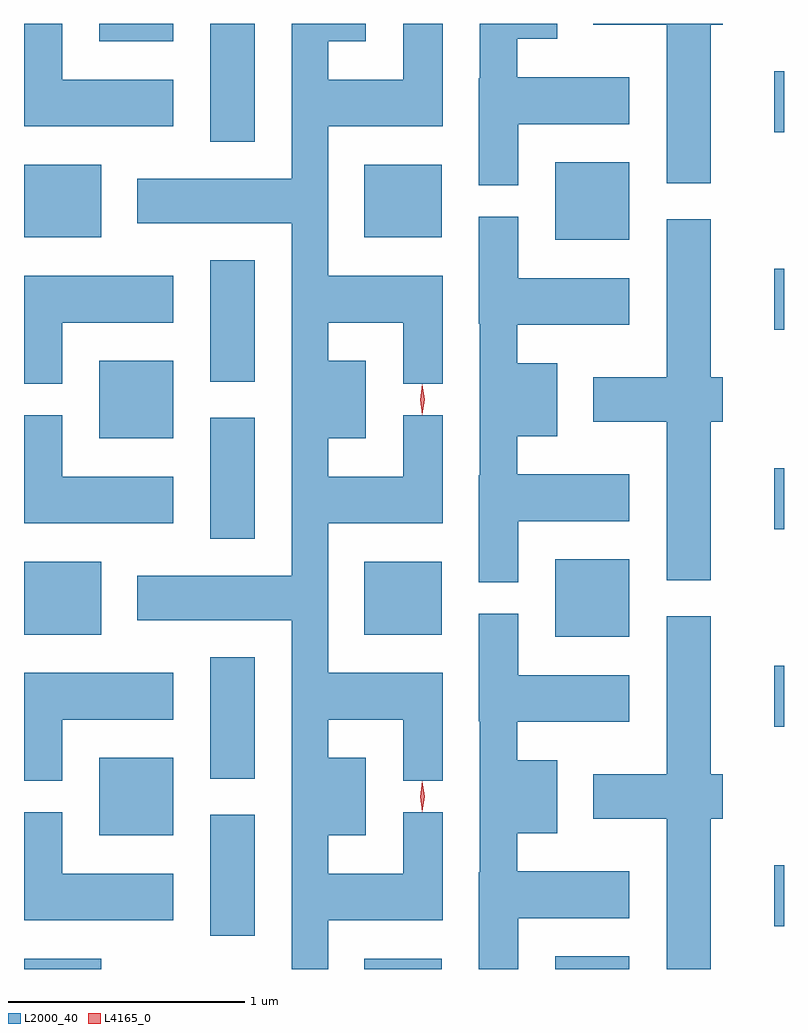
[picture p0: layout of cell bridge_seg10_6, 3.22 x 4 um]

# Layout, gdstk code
import gdstk
lib = gdstk.Library(unit=1e-6, precision=1e-09)
def R(c, l, rs):  # rectangles x0, y0, x1, y1
    for r in rs: c.add(gdstk.rectangle(r[:2], r[2:], *l))
def P(c, l, *ps):  # polygons
    for p in ps: c.add(gdstk.Polygon(p, *l))
L2000_40 = (2000, 40)
L4165_0 = (4165, 0)

bridge_seg10_6 = lib.new_cell('bridge_seg10_6')
R(bridge_seg10_6, L2000_40, [(1911.107,2166.76,1911.434,2166.804), (1912.546,2166.76,1912.874,2166.804), (1913.356,2166.76,1913.669,2166.814), (1911.896,2166.901,1912.084,2167.414), (1914.281,2166.941,1914.323,2167.199), (1911.426,2167.326,1911.739,2167.654), (1911.896,2167.566,1912.084,2168.079), (1914.281,2167.786,1914.323,2168.044), (1913.356,2168.166,1913.669,2168.494), (1911.107,2168.176,1911.434,2168.484), (1912.546,2168.176,1912.874,2168.484), (1911.896,2168.581,1912.084,2169.094), (1914.281,2168.621,1914.323,2168.879), (1911.426,2169.006,1911.739,2169.334), (1911.896,2169.246,1912.084,2169.759), (1914.281,2169.466,1914.323,2169.724), (1913.356,2169.846,1913.669,2170.174), (1911.107,2169.856,1911.434,2170.164), (1912.546,2169.856,1912.874,2170.164), (1911.896,2170.261,1912.084,2170.76), (1914.281,2170.301,1914.323,2170.559), (1911.426,2170.686,1911.739,2170.76)])
P(bridge_seg10_6, L2000_40, [(1911.739,2170.524),(1911.269,2170.524),(1911.269,2170.76),(1911.107,2170.76),(1911.107,2170.326),(1911.739,2170.326)],
  [(1914.014,2170.756),(1914.064,2170.756),(1914.064,2170.76),(1913.516,2170.76),(1913.516,2170.756),(1913.826,2170.756),(1913.826,2170.086),(1914.014,2170.086)],
  [(1913.199,2170.336),(1913.669,2170.336),(1913.669,2170.534),(1913.194,2170.534),(1913.194,2170.696),(1913.364,2170.696),(1913.364,2170.76),(1913.036,2170.76),(1913.036,2170.53),(1913.031,2170.53),(1913.031,2170.078),(1913.199,2170.078)],
  [(1912.394,2166.76),(1912.394,2166.966),(1912.879,2166.966),(1912.879,2167.423),(1912.711,2167.423),(1912.711,2167.164),(1912.394,2167.164),(1912.394,2167.326),(1912.554,2167.326),(1912.554,2167.654),(1912.394,2167.654),(1912.394,2167.816),(1912.711,2167.816),(1912.711,2167.558),(1912.879,2167.558),(1912.879,2168.014),(1912.394,2168.014),(1912.394,2168.646),(1912.879,2168.646),(1912.879,2169.103),(1912.711,2169.103),(1912.711,2168.844),(1912.394,2168.844),(1912.394,2169.006),(1912.554,2169.006),(1912.554,2169.334),(1912.394,2169.334),(1912.394,2169.496),(1912.711,2169.496),(1912.711,2169.238),(1912.879,2169.238),(1912.879,2169.694),(1912.394,2169.694),(1912.394,2170.326),(1912.879,2170.326),(1912.879,2170.76),(1912.711,2170.76),(1912.711,2170.524),(1912.394,2170.524),(1912.394,2170.686),(1912.554,2170.686),(1912.554,2170.76),(1912.241,2170.76),(1912.241,2170.104),(1911.586,2170.104),(1911.586,2169.916),(1912.241,2169.916),(1912.241,2168.424),(1911.586,2168.424),(1911.586,2168.236),(1912.241,2168.236),(1912.241,2166.76)],
  [(1913.199,2168.656),(1913.669,2168.656),(1913.669,2168.854),(1913.194,2168.854),(1913.194,2169.016),(1913.364,2169.016),(1913.364,2169.324),(1913.194,2169.324),(1913.194,2169.486),(1913.669,2169.486),(1913.669,2169.684),(1913.199,2169.684),(1913.199,2169.943),(1913.031,2169.943),(1913.031,2169.49),(1913.036,2169.49),(1913.036,2168.85),(1913.031,2168.85),(1913.031,2168.398),(1913.199,2168.398)],
  [(1914.014,2169.076),(1914.064,2169.076),(1914.064,2169.264),(1914.014,2169.264),(1914.014,2169.934),(1913.826,2169.934),(1913.826,2169.264),(1913.516,2169.264),(1913.516,2169.076),(1913.826,2169.076),(1913.826,2168.406),(1914.014,2168.406)],
  [(1911.269,2169.496),(1911.739,2169.496),(1911.739,2169.694),(1911.107,2169.694),(1911.107,2169.238),(1911.269,2169.238)],
  [(1911.739,2168.844),(1911.269,2168.844),(1911.269,2169.103),(1911.107,2169.103),(1911.107,2168.646),(1911.739,2168.646)],
  [(1913.199,2166.976),(1913.669,2166.976),(1913.669,2167.174),(1913.194,2167.174),(1913.194,2167.336),(1913.364,2167.336),(1913.364,2167.644),(1913.194,2167.644),(1913.194,2167.806),(1913.669,2167.806),(1913.669,2168.004),(1913.199,2168.004),(1913.199,2168.263),(1913.031,2168.263),(1913.031,2167.81),(1913.036,2167.81),(1913.036,2167.17),(1913.031,2167.17),(1913.031,2166.76),(1913.199,2166.76)],
  [(1914.014,2167.396),(1914.064,2167.396),(1914.064,2167.584),(1914.014,2167.584),(1914.014,2168.254),(1913.826,2168.254),(1913.826,2167.584),(1913.516,2167.584),(1913.516,2167.396),(1913.826,2167.396),(1913.826,2166.76),(1914.014,2166.76)],
  [(1911.269,2167.816),(1911.739,2167.816),(1911.739,2168.014),(1911.107,2168.014),(1911.107,2167.558),(1911.269,2167.558)],
  [(1911.739,2167.164),(1911.269,2167.164),(1911.269,2167.423),(1911.107,2167.423),(1911.107,2166.966),(1911.739,2166.966)])
P(bridge_seg10_6, L4165_0, [(1912.793,2167.424),(1912.792,2167.425),(1912.783,2167.49),(1912.792,2167.555),(1912.793,2167.556),(1912.793,2167.555),(1912.803,2167.49),(1912.793,2167.425)],
  [(1912.793,2169.104),(1912.792,2169.105),(1912.783,2169.17),(1912.792,2169.235),(1912.793,2169.236),(1912.793,2169.235),(1912.803,2169.17),(1912.793,2169.105)])

lib.write_gds('bridge_seg10_6.gds')
